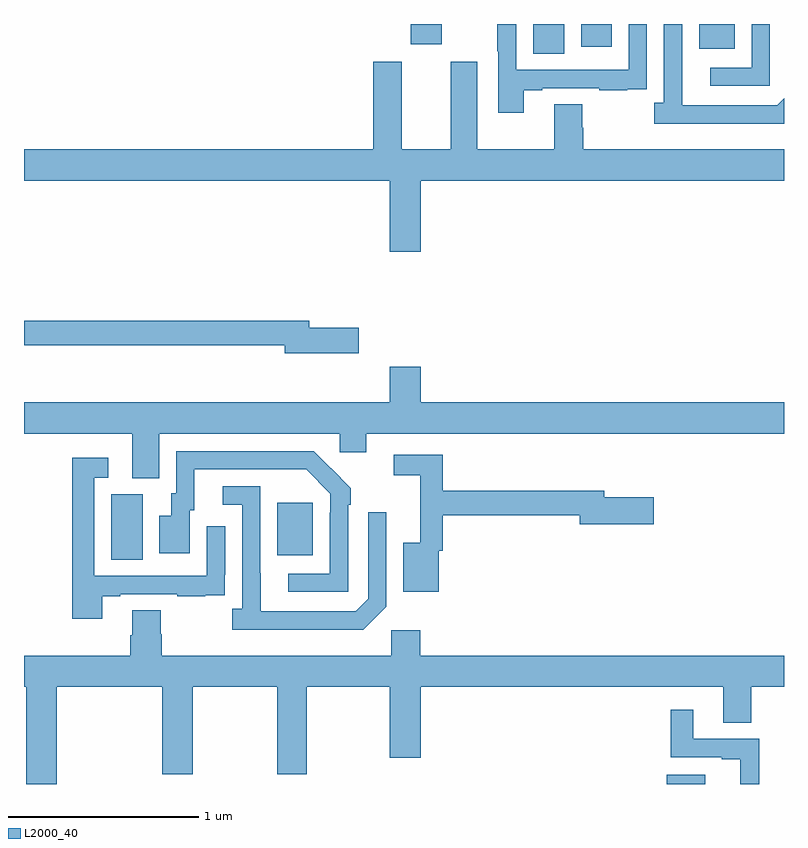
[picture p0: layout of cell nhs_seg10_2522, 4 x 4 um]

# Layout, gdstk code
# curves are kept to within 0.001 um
import gdstk
lib = gdstk.Library(unit=1e-6, precision=1e-09)
def R(c, l, rs):  # rectangles x0, y0, x1, y1
    for r in rs: c.add(gdstk.rectangle(r[:2], r[2:], *l))
def P(c, l, *ps):  # polygons
    for p in ps: c.add(gdstk.Polygon(p, *l))
L2000_40 = (2000, 40)

nhs_seg10_2522 = lib.new_cell('nhs_seg10_2522')
R(nhs_seg10_2522, L2000_40, [(250.382,1270.5,250.585,1270.549), (247.46,1271.68,247.624,1272.024), (248.333,1271.705,248.521,1271.98), (249.68,1274.344,249.844,1274.5), (250.553,1274.369,250.741,1274.5), (249.932,1274.379,250.093,1274.5), (249.035,1274.394,249.199,1274.5)])
P(nhs_seg10_2522, L2000_40, [(250.926,1274.5),(250.83,1274.5),(250.83,1274.271),(250.611,1274.271),(250.611,1274.175),(250.926,1274.175)],
  [(251,1274.108),(250.965,1274.073),(250.465,1274.073),(250.465,1274.273),(250.464,1274.273),(250.464,1274.5),(250.368,1274.5),(250.368,1274.086),(250.317,1274.086),(250.317,1273.976),(251,1273.976)],
  [(249.631,1274.151),(249.727,1274.151),(249.727,1274.163),(250.027,1274.163),(250.027,1274.151),(250.175,1274.151),(250.175,1274.157),(250.277,1274.157),(250.277,1274.266),(250.278,1274.266),(250.278,1274.5),(250.182,1274.5),(250.182,1274.259),(249.591,1274.259),(249.591,1274.5),(249.49,1274.5),(249.49,1274.356),(249.495,1274.356),(249.495,1274.034),(249.631,1274.034)],
  [(249.088,1273.676),(251,1273.676),(251,1273.84),(249.944,1273.84),(249.944,1273.953),(249.939,1273.953),(249.939,1274.078),(249.791,1274.078),(249.791,1273.84),(249.385,1273.84),(249.385,1274.302),(249.245,1274.302),(249.245,1273.84),(248.989,1273.84),(248.989,1274.302),(248.837,1274.302),(248.837,1273.84),(247,1273.84),(247,1273.676),(248.924,1273.676),(248.924,1273.302),(249.088,1273.302)],
  [(248.761,1272.902),(248.5,1272.902),(248.5,1272.938),(247,1272.938),(247,1272.81),(248.372,1272.81),(248.372,1272.767),(248.761,1272.767)],
  [(247.711,1272.344),(248.661,1272.344),(248.661,1272.246),(248.8,1272.246),(248.8,1272.344),(251,1272.344),(251,1272.508),(249.088,1272.508),(249.088,1272.697),(248.924,1272.697),(248.924,1272.508),(247,1272.508),(247,1272.344),(247.571,1272.344),(247.571,1272.109),(247.711,1272.109)],
  [(248.706,1271.969),(248.721,1271.969),(248.721,1272.057),(248.524,1272.252),(247.8,1272.252),(247.8,1272.03),(247.775,1272.03),(247.775,1271.911),(247.712,1271.911),(247.712,1271.715),(247.873,1271.715),(247.873,1271.94),(247.897,1271.94),(247.897,1272.156),(248.485,1272.156),(248.613,1272.027),(248.613,1271.927),(248.61,1271.927),(248.61,1271.607),(248.391,1271.607),(248.391,1271.511),(248.706,1271.511)],
  [(249.184,1271.727),(249.203,1271.727),(249.203,1271.914),(249.926,1271.914),(249.926,1271.867),(250.315,1271.867),(250.315,1272.009),(250.054,1272.009),(250.054,1272.043),(249.203,1272.043),(249.203,1272.234),(248.946,1272.234),(248.946,1272.126),(249.086,1272.126),(249.086,1271.77),(248.996,1271.77),(248.996,1271.513),(249.184,1271.513)],
  [(247.411,1271.487),(247.507,1271.487),(247.507,1271.499),(247.807,1271.499),(247.807,1271.487),(247.955,1271.487),(247.955,1271.493),(248.057,1271.493),(248.057,1271.602),(248.058,1271.602),(248.058,1271.857),(247.962,1271.857),(247.962,1271.595),(247.371,1271.595),(247.371,1272.111),(247.444,1272.111),(247.444,1272.217),(247.255,1272.217),(247.255,1271.37),(247.411,1271.37)],
  [(248.907,1271.433),(248.907,1271.929),(248.811,1271.929),(248.811,1271.475),(248.745,1271.409),(248.245,1271.409),(248.244,1272.066),(248.046,1272.066),(248.046,1271.97),(248.148,1271.97),(248.148,1271.422),(248.097,1271.422),(248.097,1271.312),(248.786,1271.312)],
  [(247.172,1271.012),(247.727,1271.012),(247.727,1270.551),(247.887,1270.551),(247.887,1271.012),(248.332,1271.012),(248.332,1270.551),(248.487,1270.551),(248.487,1271.012),(248.924,1271.012),(248.924,1270.638),(249.088,1270.638),(249.088,1271.012),(250.679,1271.012),(250.679,1270.822),(250.827,1270.822),(250.827,1271.012),(251,1271.012),(251,1271.176),(249.086,1271.176),(249.086,1271.308),(248.934,1271.308),(248.934,1271.176),(247.724,1271.176),(247.724,1271.289),(247.719,1271.289),(247.719,1271.414),(247.571,1271.414),(247.571,1271.282),(247.559,1271.282),(247.559,1271.176),(247,1271.176),(247,1271.012),(247.012,1271.012),(247.012,1270.5),(247.172,1270.5)],
  [(250.871,1270.737),(250.522,1270.737),(250.522,1270.891),(250.405,1270.891),(250.405,1270.641),(250.673,1270.641),(250.673,1270.629),(250.769,1270.629),(250.769,1270.5),(250.871,1270.5)])

lib.write_gds('nhs_seg10_2522.gds')
